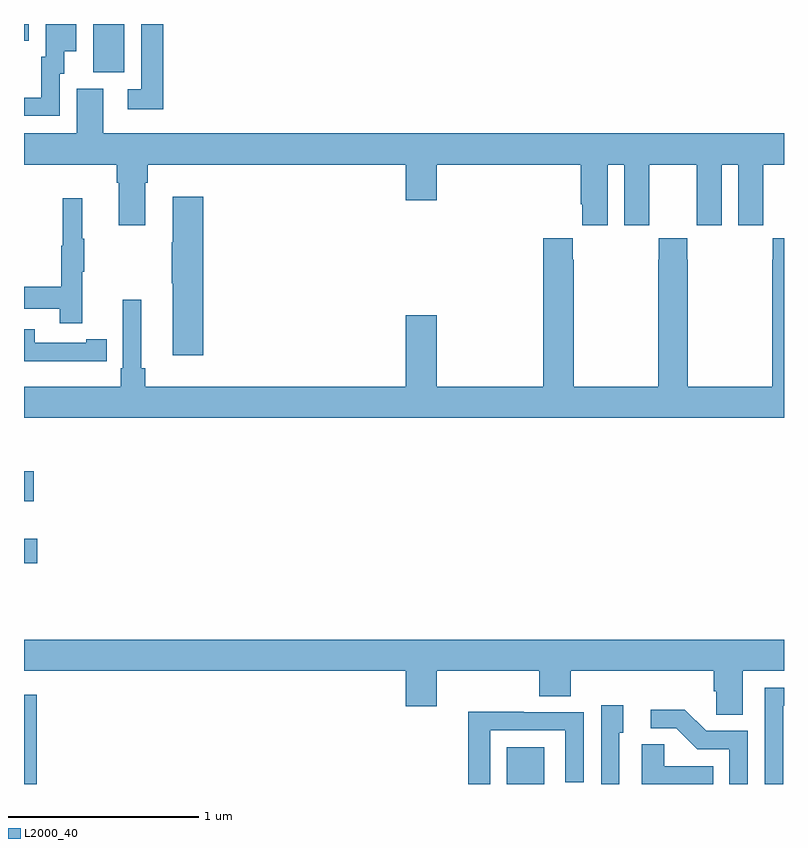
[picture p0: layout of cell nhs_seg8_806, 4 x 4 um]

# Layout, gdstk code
import gdstk
lib = gdstk.Library(unit=1e-6, precision=1e-09)
def R(c, l, rs):  # rectangles x0, y0, x1, y1
    for r in rs: c.add(gdstk.rectangle(r[:2], r[2:], *l))
def P(c, l, *ps):  # polygons
    for p in ps: c.add(gdstk.Polygon(p, *l))
L2000_40 = (2000, 40)

nhs_seg8_806 = lib.new_cell('nhs_seg8_806')
R(nhs_seg8_806, L2000_40, [(163,1119.9,163.067,1120.369), (165.542,1119.9,165.739,1120.093), (163,1121.062,163.069,1121.191), (163,1121.387,163.051,1121.545), (163.364,1123.645,163.528,1123.9), (163,1123.812,163.026,1123.9)])
P(nhs_seg8_806, L2000_40, [(163.188,1123.638),(163.213,1123.638),(163.213,1123.757),(163.276,1123.757),(163.276,1123.9),(163.115,1123.9),(163.115,1123.728),(163.091,1123.728),(163.091,1123.512),(163,1123.512),(163,1123.416),(163.188,1123.416)],
  [(163.733,1123.9),(163.617,1123.9),(163.617,1123.557),(163.545,1123.557),(163.545,1123.452),(163.733,1123.452)],
  [(163.639,1123.064),(163.652,1123.064),(163.652,1123.16),(165.008,1123.16),(165.008,1122.972),(165.172,1122.972),(165.172,1123.16),(165.929,1123.16),(165.929,1122.952),(165.938,1122.952),(165.938,1122.84),(166.072,1122.84),(166.072,1123.16),(166.16,1123.16),(166.16,1122.84),(166.29,1122.84),(166.29,1122.952),(166.291,1122.952),(166.291,1123.16),(166.541,1123.16),(166.541,1122.952),(166.542,1122.952),(166.542,1122.84),(166.672,1122.84),(166.672,1123.16),(166.76,1123.16),(166.76,1122.84),(166.89,1122.84),(166.89,1122.952),(166.891,1122.952),(166.891,1123.16),(167,1123.16),(167,1123.324),(163.417,1123.324),(163.417,1123.56),(163.277,1123.56),(163.277,1123.324),(163,1123.324),(163,1123.16),(163.487,1123.16),(163.487,1123.064),(163.499,1123.064),(163.499,1122.84),(163.639,1122.84)],
  [(163.943,1122.991),(163.784,1122.991),(163.784,1122.752),(163.777,1122.752),(163.777,1122.535),(163.784,1122.535),(163.784,1122.156),(163.943,1122.156)],
  [(163.307,1122.595),(163.318,1122.595),(163.318,1122.769),(163.307,1122.769),(163.307,1122.982),(163.204,1122.982),(163.204,1122.732),(163.197,1122.732),(163.197,1122.518),(163,1122.518),(163,1122.402),(163.189,1122.402),(163.189,1122.324),(163.307,1122.324)],
  [(167,1122.772),(166.941,1122.772),(166.941,1122.659),(166.939,1122.659),(166.939,1121.992),(166.494,1121.992),(166.494,1122.659),(166.491,1122.659),(166.491,1122.772),(166.341,1122.772),(166.341,1122.659),(166.339,1122.659),(166.339,1121.992),(165.894,1121.992),(165.894,1122.659),(165.887,1122.659),(165.887,1122.772),(165.734,1122.772),(165.734,1121.992),(165.172,1121.992),(165.172,1122.367),(165.008,1122.367),(165.008,1121.992),(163.637,1121.992),(163.637,1122.088),(163.618,1122.088),(163.618,1122.448),(163.521,1122.448),(163.521,1122.088),(163.508,1122.088),(163.508,1121.992),(163,1121.992),(163,1121.828),(167,1121.828)],
  [(163.328,1122.126),(163.436,1122.126),(163.436,1122.242),(163.328,1122.242),(163.328,1122.222),(163.056,1122.222),(163.056,1122.294),(163,1122.294),(163,1122.125),(163.328,1122.125)],
  [(166.783,1120.496),(167,1120.496),(167,1120.66),(163,1120.66),(163,1120.496),(165.008,1120.496),(165.008,1120.308),(165.172,1120.308),(165.172,1120.496),(165.713,1120.496),(165.713,1120.363),(165.878,1120.363),(165.878,1120.496),(166.631,1120.496),(166.631,1120.387),(166.644,1120.387),(166.644,1120.264),(166.783,1120.264)],
  [(166.995,1120.311),(167,1120.311),(167,1120.407),(166.899,1120.407),(166.899,1119.9),(166.995,1119.9)],
  [(166.134,1120.17),(166.153,1120.17),(166.153,1120.315),(166.038,1120.315),(166.038,1119.9),(166.134,1119.9)],
  [(166.809,1120.179),(166.59,1120.179),(166.477,1120.292),(166.299,1120.292),(166.299,1120.194),(166.433,1120.194),(166.544,1120.083),(166.713,1120.083),(166.713,1119.9),(166.809,1119.9)],
  [(165.453,1120.182),(165.849,1120.182),(165.849,1119.909),(165.945,1119.909),(165.945,1120.278),(165.629,1120.278),(165.629,1120.28),(165.337,1120.28),(165.337,1119.9),(165.453,1119.9)],
  [(166.628,1119.994),(166.371,1119.994),(166.371,1120.109),(166.25,1120.109),(166.25,1119.9),(166.628,1119.9)])

lib.write_gds('nhs_seg8_806.gds')
